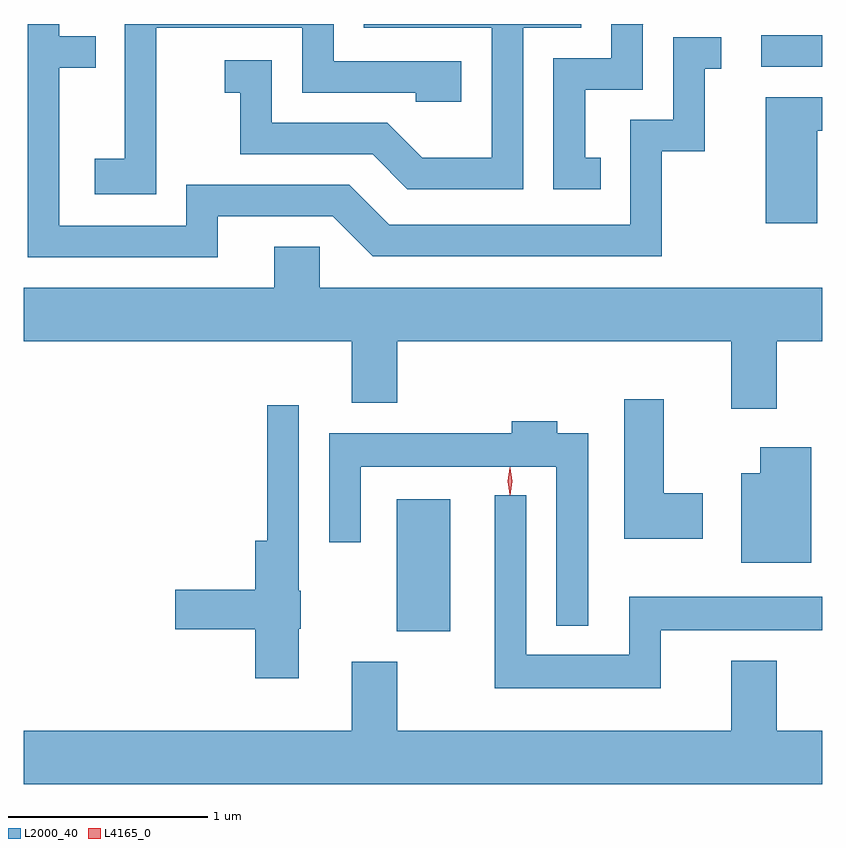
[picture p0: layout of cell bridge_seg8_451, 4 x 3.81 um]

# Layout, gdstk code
import gdstk
lib = gdstk.Library(unit=1e-6, precision=1e-09)
def R(c, l, rs):  # rectangles x0, y0, x1, y1
    for r in rs: c.add(gdstk.rectangle(r[:2], r[2:], *l))
def P(c, l, *ps):  # polygons
    for p in ps: c.add(gdstk.Polygon(p, *l))
L2000_40 = (2000, 40)
L4165_0 = (4165, 0)

bridge_seg8_451 = lib.new_cell('bridge_seg8_451')
R(bridge_seg8_451, L2000_40, [(544.936,1932.641,545.204,1933.304), (546.763,1935.471,547.067,1935.629)])
P(bridge_seg8_451, L2000_40, [(545.569,1935.666),(545.859,1935.666),(545.859,1935.685),(544.771,1935.685),(544.771,1935.666),(545.411,1935.666),(545.411,1935.014),(545.062,1935.014),(544.887,1935.189),(544.309,1935.189),(544.309,1935.504),(544.073,1935.504),(544.073,1935.341),(544.151,1935.341),(544.151,1935.031),(544.814,1935.031),(544.989,1934.856),(545.569,1934.856)],
  [(544.039,1934.721),(544.614,1934.721),(544.814,1934.521),(546.264,1934.521),(546.264,1935.046),(546.479,1935.046),(546.479,1935.461),(546.563,1935.461),(546.563,1935.619),(546.321,1935.619),(546.321,1935.204),(546.106,1935.204),(546.106,1934.679),(544.897,1934.679),(544.697,1934.879),(543.881,1934.879),(543.881,1934.674),(543.244,1934.674),(543.244,1935.466),(543.428,1935.466),(543.428,1935.624),(543.244,1935.624),(543.244,1935.685),(543.086,1935.685),(543.086,1934.516),(544.039,1934.516)],
  [(543.729,1935.666),(544.461,1935.666),(544.461,1935.341),(545.031,1935.341),(545.031,1935.296),(545.259,1935.296),(545.259,1935.499),(544.619,1935.499),(544.619,1935.685),(543.571,1935.685),(543.571,1935.009),(543.421,1935.009),(543.421,1934.831),(543.729,1934.831)],
  [(545.958,1935.014),(545.879,1935.014),(545.879,1935.356),(546.169,1935.356),(546.169,1935.684),(546.17,1935.685),(546.011,1935.685),(546.011,1935.514),(545.721,1935.514),(545.721,1934.856),(545.958,1934.856)],
  [(547.044,1935.151),(547.067,1935.151),(547.067,1935.319),(546.786,1935.319),(546.786,1934.686),(547.044,1934.686)],
  [(546.839,1934.096),(547.067,1934.096),(547.067,1934.364),(544.549,1934.364),(544.549,1934.569),(544.321,1934.569),(544.321,1934.364),(543.067,1934.364),(543.067,1934.096),(544.711,1934.096),(544.711,1933.786),(544.939,1933.786),(544.939,1934.096),(546.611,1934.096),(546.611,1933.756),(546.839,1933.756)],
  [(546.469,1933.334),(546.274,1933.334),(546.274,1933.804),(546.076,1933.804),(546.076,1933.106),(546.469,1933.106)],
  [(544.444,1932.655),(544.454,1932.655),(544.454,1932.845),(544.444,1932.845),(544.444,1933.773),(544.286,1933.773),(544.286,1933.094),(544.226,1933.094),(544.226,1932.849),(543.826,1932.849),(543.826,1932.651),(544.226,1932.651),(544.226,1932.406),(544.444,1932.406)],
  [(545.894,1933.634),(545.739,1933.634),(545.739,1933.694),(545.511,1933.694),(545.511,1933.634),(544.596,1933.634),(544.596,1933.088),(544.754,1933.088),(544.754,1933.466),(545.736,1933.466),(545.736,1932.668),(545.894,1932.668)],
  [(547.014,1933.564),(546.756,1933.564),(546.756,1933.434),(546.661,1933.434),(546.661,1932.986),(547.014,1932.986)],
  [(546.259,1932.646),(547.067,1932.646),(547.067,1932.814),(546.101,1932.814),(546.101,1932.524),(545.584,1932.524),(545.584,1933.323),(545.426,1933.323),(545.426,1932.356),(546.259,1932.356)],
  [(547.067,1932.144),(546.839,1932.144),(546.839,1932.494),(546.611,1932.494),(546.611,1932.144),(544.939,1932.144),(544.939,1932.489),(544.711,1932.489),(544.711,1932.144),(543.067,1932.144),(543.067,1931.876),(547.067,1931.876)])
P(bridge_seg8_451, L4165_0, [(545.503,1933.324),(545.494,1933.394),(545.503,1933.462),(545.504,1933.463),(545.504,1933.462),(545.514,1933.394),(545.504,1933.324),(545.504,1933.324)],
  [(545.502,1933.327),(545.502,1933.327),(545.492,1933.394),(545.502,1933.46),(545.502,1933.46),(545.503,1933.46),(545.512,1933.394),(545.503,1933.327)])

lib.write_gds('bridge_seg8_451.gds')
